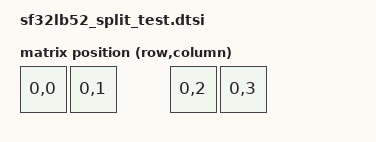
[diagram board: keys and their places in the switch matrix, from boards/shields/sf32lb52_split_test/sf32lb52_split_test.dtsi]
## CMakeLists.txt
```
cmake_minimum_required(VERSION 3.13.1)

set(CONFIG_APPLICATION_DEFINED_SYSCALL true)

set(ZEPHYR_BOARD_ALIASES "boards/aliases.cmake")
set(ZEPHYR_EXTRA_MODULES "${ZMK_EXTRA_MODULES};${CMAKE_CURRENT_SOURCE_DIR}/module;${CMAKE_CURRENT_SOURCE_DIR}/keymap-module")

# Find Zephyr. This also loads Zephyr's build system.
find_package(Zephyr REQUIRED HINTS ../zephyr)
project(zmk)

zephyr_linker_sources(SECTIONS include/linker/zmk-behaviors.ld)
zephyr_linker_sources(RODATA include/linker/zmk-events.ld)

if(CONFIG_ZMK_BEHAVIOR_LOCAL_IDS)
  zephyr_linker_sources(DATA_SECTIONS include/linker/zmk-behavior-local-id-map.ld)
endif()

zephyr_syscall_header(${APPLICATION_SOURCE_DIR}/include/drivers/behavior.h)
zephyr_syscall_header(${APPLICATION_SOURCE_DIR}/include/drivers/input_processor.h)
zephyr_syscall_header(${APPLICATION_SOURCE_DIR}/include/drivers/ext_power.h)

# Add your source file to the "app" target. This must come after
# find_package(Zephyr) which defines the target.
target_include_directories(app PRIVATE include)
add_subdirectory(src/boot)
target_sources(app PRIVATE src/stdlib.c)
target_sources(app PRIVATE src/activity.c)
target_sources(app PRIVATE src/behavior.c)
target_sources_ifdef(CONFIG_ZMK_KSCAN_SIDEBAND_BEHAVIORS app PRIVATE src/kscan_sideband_behaviors.c)
target_sources(app PRIVATE src/matrix_transform.c)
target_sources(app PRIVATE src/physical_layouts.c)
target_sources(app PRIVATE src/sensors.c)
target_sources_ifdef(CONFIG_ZMK_WPM app PRIVATE src/wpm.c)
target_sources(app PRIVATE src/event_manager.c)
target_sources_ifdef(CONFIG_ZMK_PM app PRIVATE src/pm.c)
target_sources_ifdef(CONFIG_ZMK_EXT_POWER app PRIVATE src/ext_power_generic.c)
target_sources_ifdef(CONFIG_ZMK_GPIO_KEY_WAKEUP_TRIGGER app PRIVATE src/gpio_key_wakeup_trigger.c)
target_sources(app PRIVATE src/events/activity_state_changed.c)
target_sources(app PRIVATE src/events/position_state_changed.c)
target_sources(app PRIVATE src/events/sensor_event.c)
target_sources_ifdef(CONFIG_ZMK_WPM app PRIVATE src/events/wpm_state_changed.c)
target_sources_ifdef(CONFIG_USB_DEVICE_STACK app PRIVATE src/events/usb_conn_state_changed.c)
target_sources(app PRIVATE src/behaviors/behavior_reset.c)
target_sources_ifdef(CONFIG_ZMK_EXT_POWER app PRIVATE src/behaviors/behavior_ext_power.c)
target_sources_ifdef(CONFIG_ZMK_BEHAVIOR_SOFT_OFF app PRIVATE src/behaviors/behavior_soft_off.c)
add_subdirectory_ifdef(CONFIG_ZMK_POINTING src/pointing/)
if ((NOT CONFIG_ZMK_SPLIT) OR CONFIG_ZMK_SPLIT_ROLE_CENTRAL)
  target_sources(app PRIVATE src/hid.c)
  target_sources(app PRIVATE src/behaviors/behavior_key_press.c)
  target_sources_ifdef(CONFIG_ZMK_BEHAVIOR_KEY_TOGGLE app PRIVATE src/behaviors/behavior_key_toggle.c)
  target_sources_ifdef(CONFIG_ZMK_BEHAVIOR_HOLD_TAP app PRIVATE src/behaviors/behavior_hold_tap.c)
  target_sources_ifdef(CONFIG_ZMK_BEHAVIOR_STICKY_KEY app PRIVATE src/behaviors/behavior_sticky_key.c)
  target_sources(app PRIVATE src/behaviors/behavior_caps_word.c)
  target_sources(app PRIVATE src/behaviors/behavior_key_repeat.c)
  target_sources_ifdef(CONFIG_ZMK_BEHAVIOR_MACRO app PRIVATE src/behaviors/behavior_macro.c)
  target_sources(app PRIVATE src/behaviors/behavior_momentary_layer.c)
  target_sources(app PRIVATE src/behaviors/behavior_mod_morph.c)
  target_sources(app PRIVATE src/behaviors/behavior_outputs.c)
  target_sources(app PRIVATE src/behaviors/behavior_toggle_layer.c)
  target_sources(app PRIVATE src/behaviors/behavior_to_layer.c)
  target_sources(app PRIVATE src/behaviors/behavior_transparent.c)
  target_sources(app PRIVATE src/behaviors/behavior_none.c)
  target_sources_ifdef(CONFIG_ZMK_BEHAVIOR_SENSOR_ROTATE app PRIVATE src/behaviors/behavior_sensor_rotate.c)
  target_sources_ifdef(CONFIG_ZMK_BEHAVIOR_SENSOR_ROTATE_VAR app PRIVATE src/behaviors/behavior_sensor_rotate_var.c)
  target_sources_ifdef(CONFIG_ZMK_BEHAVIOR_SENSOR_ROTATE_COMMON app PRIVATE src/behaviors/behavior_sensor_rotate_common.c)
  target_sources_ifdef(CONFIG_ZMK_BEHAVIOR_MOUSE_KEY_PRESS app PRIVATE src/behaviors/behavior_mouse_key_press.c)
  target_sources_ifdef(CONFIG_ZMK_BEHAVIOR_STUDIO_UNLOCK app PRIVATE src/behaviors/behavior_studio_unlock.c)
  target_sources_ifdef(CONFIG_ZMK_BEHAVIOR_INPUT_TWO_AXIS app PRIVATE src/behaviors/behavior_input_two_axis.c)
  target_sources(app PRIVATE src/combo.c)
  target_sources_ifdef(CONFIG_ZMK_BEHAVIOR_TAP_DANCE app PRIVATE src/behaviors/behavior_tap_dance.c)
  target_sources(app PRIVATE src/behavior_queue.c)
  target_sources(app PRIVATE src/conditional_layer.c)
  target_sources(app PRIVATE src/endpoints.c)
  target_sources(app PRIVATE src/events/endpoint_changed.c)
  target_sources(app PRIVATE src/hid_listener.c)
  target_sources(app PRIVATE src/keymap.c)
  target_sources(app PRIVATE src/events/layer_state_changed.c)
  target_sources(app PRIVATE src/events/modifiers_state_changed.c)
  target_sources(app PRIVATE src/events/keycode_state_changed.c)
  target_sources_ifdef(CONFIG_ZMK_HID_INDICATORS app PRIVATE src/hid_indicators.c)

  if (CONFIG_ZMK_BLE)
    target_sources(app PRIVATE src/events/ble_active_profile_changed.c)
    target_sources(app PRIVATE src/behaviors/behavior_bt.c)
    target_sources(app PRIVATE src/ble.c)
    target_sources(app PRIVATE src/hog.c)
  endif()
endif()

if(CONFIG_ZMK_USB_CHERRYUSB)
  zephyr_include_directories(src/cherryusb)
  target_sources(app PRIVATE src/cherryusb/usb.c)
  target_sources(app PRIVATE src/cherryusb/usb_hid.c)
  target_sources(app PRIVATE src/events/usb_conn_state_changed.c)
endif()

target_sources_ifdef(CONFIG_ZMK_RGB_UNDERGLOW app PRIVATE src/behaviors/behavior_rgb_underglow.c)
target_sources_ifdef(CONFIG_ZMK_BACKLIGHT app PRIVATE src/behaviors/behavior_backlight.c)

target_sources_ifdef(CONFIG_ZMK_BATTERY_REPORTING app PRIVATE src/events/battery_state_changed.c)
target_sources_ifdef(CONFIG_ZMK_BATTERY_REPORTING app PRIVATE src/battery.c)

target_sources_ifdef(CONFIG_ZMK_HID_INDICATORS app PRIVATE src/events/hid_indicators_changed.c)

target_sources_ifdef(CONFIG_ZMK_SPLIT app PRIVATE src/events/split_peripheral_status_changed.c)
add_subdirectory_ifdef(CONFIG_ZMK_SPLIT src/split)

target_sources_ifdef(CONFIG_USB_DEVICE_STACK app PRIVATE src/usb.c)
target_sources_ifdef(CONFIG_ZMK_USB app PRIVATE src/usb_hid.c)
target_sources_ifdef(CONFIG_ZMK_RGB_UNDERGLOW app PRIVATE src/rgb_underglow.c)
target_sources_ifdef(CONFIG_ZMK_BACKLIGHT app PRIVATE src/backlight.c)
target_sources_ifdef(CONFIG_ZMK_LOW_PRIORITY_WORK_QUEUE app PRIVATE src/workqueue.c)
target_sources(app PRIVATE src/main.c)

add_subdirectory(src/display/)
add_subdirectory_ifdef(CONFIG_SETTINGS src/settings/)

if (CONFIG_ZMK_STUDIO_RPC)
  # For some reason this is failing if run from a different sub-file.
  list(APPEND CMAKE_MODULE_PATH ${ZEPHYR_BASE}/modules/nanopb)

  include(nanopb)

    # Turn off the default nanopb behavior
  set(NANOPB_GENERATE_CPP_STANDALONE OFF)

  nanopb_generate_cpp(proto_srcs proto_hdrs RELPATH ${ZEPHYR_ZMK_STUDIO_MESSAGES_MODULE_DIR}
                        ${ZEPHYR_ZMK_STUDIO_MESSAGES_MODULE_DIR}/proto/zmk/studio.proto
                        ${ZEPHYR_ZMK_STUDIO_MESSAGES_MODULE_DIR}/proto/zmk/meta.proto
                        ${ZEPHYR_ZMK_STUDIO_MESSAGES_MODULE_DIR}/proto/zmk/core.proto
                        ${ZEPHYR_ZMK_STUDIO_MESSAGES_MODULE_DIR}/proto/zmk/behaviors.proto
                        ${ZEPHYR_ZMK_STUDIO_MESSAGES_MODULE_DIR}/proto/zmk/keymap.proto
  )

  target_include_directories(app PUBLIC ${CMAKE_CURRENT_BINARY_DIR})
  target_sources(app PRIVATE ${proto_srcs} ${proto_hdrs})

  add_subdirectory(src/studio)
endif()

zephyr_cc_option(-Wfatal-errors)
```

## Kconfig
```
# Copyright (c) 2020 The ZMK Contributors
# SPDX-License-Identifier: MIT

mainmenu "ZMK Firmware"

menu "ZMK"

menu "Basic Keyboard Setup"

config ZMK_KEYBOARD_NAME
    string "Keyboard Name"

config USB_DEVICE_PRODUCT
    default ZMK_KEYBOARD_NAME

config BT_DEVICE_NAME
    default ZMK_KEYBOARD_NAME

config USB_DEVICE_VID
    default 0x1D50

config USB_DEVICE_PID
    default 0x615E

config USB_DEVICE_MANUFACTURER
    default "ZMK Project"

config BT_DIS_PNP_VID
    default 0x1D50

config BT_DIS_PNP_PID
    default 0x615E

config BT_DIS_MODEL_NUMBER_STR
    default ZMK_KEYBOARD_NAME

config BT_DIS_MANUF_NAME_STR
    default "ZMK Project"

# Hardware specific overrides

if SOC_SERIES_NRF52X

# Default on for our usage until boards implement retained bootmode.
config NRF_STORE_REBOOT_TYPE_GPREGRET
    bool
    default y

endif # SOC_SERIES_NRF52X

menu "HID"

choice ZMK_HID_REPORT_TYPE
    prompt "HID Report Type"

config ZMK_HID_REPORT_TYPE_HKRO
    bool "#-Key Roll Over (HKRO) HID Report"
    help
      Enable # key roll over for HID report. This selection is "boot keyboard" compatible
      but limits the total number of possible keys to report as held to #.

config ZMK_HID_REPORT_TYPE_NKRO
    bool "Full N-Key Roll Over (NKRO) HID Report"
    help
      Enable full N-Key Roll Over for HID output. This selection will prevent the keyboard
      from working with some BIOS/UEFI versions that only support "boot keyboard" support.
      This option also prevents using some infrequently used higher range HID usages (notably F13-F24 and INTL1-9)
      These usages can be re enabled with ZMK_HID_KEYBOARD_NKRO_EXTENDED_REPORT.

endchoice

config ZMK_HID_KEYBOARD_NKRO_EXTENDED_REPORT
    bool "Enable extended NKRO reporting"
    depends on ZMK_HID_REPORT_TYPE_NKRO
    help
      Enables higher usage range for NKRO (F13-F24 and INTL1-9).
      Please note this is not compatible with Android currently and you will get no input


if ZMK_HID_REPORT_TYPE_HKRO

config ZMK_HID_KEYBOARD_REPORT_SIZE
    int "# Keyboard Keys Reportable"

endif # ZMK_HID_REPORT_TYPE_HKRO

config ZMK_HID_CONSUMER_REPORT_SIZE
    int "# Consumer Keys Reportable"

choice ZMK_HID_CONSUMER_REPORT_USAGES
    prompt "HID Report Type"

config ZMK_HID_CONSUMER_REPORT_USAGES_FULL
    bool "Full Consumer HID Usage Support"
    help
      Enable full Consumer usage ID values to be sent to hosts. Allows for less
      frequently used usages, but has compatibability issues with some host OSes.

config ZMK_HID_CONSUMER_REPORT_USAGES_BASIC
    bool "Basic Consumer HID Usage Support"
    help
      Enable Consumer usage ID values up to "Playback Speed - Slow" to be sent to
      hosts. Allows for broader compatibability with more host OSes.

endchoice

config ZMK_HID_INDICATORS
    bool "HID Indicators"
    help
      Enable HID indicators, used for detecting state of Caps/Scroll/Num Lock,
      Kata, and Compose.

config ZMK_HID_SEPARATE_MOD_RELEASE_REPORT
    bool "Release Modifiers Separately"
    help
      Send a separate release event for the modifiers, to make sure the release
      of the modifier doesn't get recognized before the actual key's release event.

menu "Output Types"

# Hidden config: set when any USB HID output is available
config ZMK_USB_HID
    bool
    default y if ZMK_USB || ZMK_USB_CHERRYUSB

choice ZMK_USB_STACK
    prompt "USB Stack"
    optional
    depends on (!ZMK_SPLIT || (ZMK_SPLIT && ZMK_SPLIT_ROLE_CENTRAL))

config ZMK_USB
    bool "Zephyr USB Stack"
    select USB
    select USB_DEVICE_STACK
    select USB_DEVICE_HID

config ZMK_USB_CHERRYUSB
    bool "CherryUSB Stack"
    select CHERRYUSB
    select CHERRYUSB_DEVICE
    select CHERRYUSB_DEVICE_HID

endchoice

config ZMK_USB_BOOT
    bool "USB Boot Protocol Support"
    depends on ZMK_USB_HID
    select USB_HID_BOOT_PROTOCOL if ZMK_USB

config USB_DEVICE_INITIALIZE_AT_BOOT
    default n

if ZMK_USB

config USB_NUMOF_EP_WRITE_RETRIES
    default 10

config USB_HID_POLL_INTERVAL_MS
    default 1

endif # ZMK_USB

if ZMK_USB_CHERRYUSB

config CHERRYUSB_DEV_BASE_ADDR
    hex "CherryUSB device controller base address"
    default 0x0

endif # ZMK_USB_CHERRYUSB

menuconfig ZMK_BLE
    bool "BLE (HID over GATT)"
    select BT
    select BT_SMP
    select BT_SMP_SC_PAIR_ONLY
    select BT_SMP_APP_PAIRING_ACCEPT
    select BT_PERIPHERAL
    select BT_DIS
    imply BT_DEVICE_NAME_DYNAMIC
    imply BT_SETTINGS if !ARCH_POSIX
    imply SETTINGS if !ARCH_POSIX
    imply ZMK_BATTERY_REPORTING if !ARCH_POSIX

if ZMK_BLE

config ZMK_BLE_EXPERIMENTAL_CONN
    bool "Experimental BLE connection changes"
    help
      Enables settings that are planned to be default in future versions of ZMK
      to improve connection stability.

config ZMK_BLE_EXPERIMENTAL_SEC
    bool "Experimental BLE security changes"
    imply BT_SMP_ALLOW_UNAUTH_OVERWRITE
    help
      Enables security settings that are planned to be officially supported in the future.

config ZMK_BLE_EXPERIMENTAL_FEATURES
    bool "Experimental BLE connection and security settings/features"
    select ZMK_BLE_EXPERIMENTAL_CONN
    select ZMK_BLE_EXPERIMENTAL_SEC
    help
      Enables experimental connection changes and security features.

config ZMK_BLE_PASSKEY_ENTRY
    bool "Require passkey entry on the keyboard to complete pairing"
    select RING_BUFFER

config BT_SMP_ALLOW_UNAUTH_OVERWRITE
    imply ZMK_BLE_PASSKEY_ENTRY

config BT_CTLR_PHY_2M
    default n if ZMK_BLE_EXPERIMENTAL_CONN

config ZMK_BLE_THREAD_STACK_SIZE
    int "BLE notify thread stack size"
    default 768

config ZMK_BLE_THREAD_PRIORITY
    int "BLE notify thread priority"
    default 5

config ZMK_BLE_KEYBOARD_REPORT_QUEUE_SIZE
    int "Max number of keyboard HID reports to queue for sending over BLE"
    default 20

config ZMK_BLE_CONSUMER_REPORT_QUEUE_SIZE
    int "Max number of consumer HID reports to queue for sending over BLE"
    default 5

config ZMK_BLE_MOUSE_REPORT_QUEUE_SIZE
    int "Max number of mouse HID reports to queue for sending over BLE"
    default 20

config ZMK_BLE_CLEAR_BONDS_ON_START
    bool "Configuration that clears all bond information from the keyboard on startup."

# HID GATT notifications sent this way are *not* picked up by Linux, and possibly others.
config BT_GATT_NOTIFY_MULTIPLE
    default n

config BT_GATT_AUTO_SEC_REQ
    default (ZMK_SPLIT_BLE && !ZMK_SPLIT_ROLE_CENTRAL)

config BT_PERIPHERAL_PREF_MIN_INT
    default 6

config BT_PERIPHERAL_PREF_MAX_INT
    default 12

config BT_PERIPHERAL_PREF_LATENCY
    default 0

config BT_PERIPHERAL_PREF_TIMEOUT
    default 400

# The device name should be 16 characters or less so it fits within the
# advertising data.
config BT_DEVICE_NAME_MAX
    default 16

endif # ZMK_BLE

endmenu # Output Types

endmenu # HID

rsource "src/split/Kconfig"

endmenu # Basic Keyboard Setup

menu "Keymaps"

config ZMK_KEYMAP_LAYER_REORDERING
    bool "Layer Reordering Support"

config ZMK_KEYMAP_SETTINGS_STORAGE
    bool "Settings Save/Load"
    depends on SETTINGS
    depends on ZMK_BEHAVIOR_LOCAL_IDS

if ZMK_KEYMAP_SETTINGS_STORAGE

config ZMK_KEYMAP_LAYER_NAME_MAX_LEN
    int "Max Layer Name Length"
    default 20

endif # ZMK_KEYMAP_SETTINGS_STORAGE

endmenu # Keymaps

rsource "src/studio/Kconfig"

menu "Display/LED Options"

rsource "src/display/Kconfig"

menuconfig ZMK_RGB_UNDERGLOW
    bool "RGB Addressable LED Underglow"
    select LED_STRIP
    select ZMK_LOW_PRIORITY_WORK_QUEUE

if ZMK_RGB_UNDERGLOW

config ZMK_RGB_UNDERGLOW_EXT_POWER
    bool "RGB underglow toggling also controls external power"

config ZMK_RGB_UNDERGLOW_BRT_MIN
    int "RGB underglow minimum brightness in percent"
    range 0 100

config ZMK_RGB_UNDERGLOW_BRT_MAX
    int "RGB underglow maximum brightness in percent"
    range ZMK_RGB_UNDERGLOW_BRT_MIN 100

config ZMK_RGB_UNDERGLOW_HUE_STEP
    int "RGB underglow hue step in degrees"
    range 0 359

config ZMK_RGB_UNDERGLOW_SAT_STEP
    int "RGB underglow saturation step in percent"
    range 0 100

config ZMK_RGB_UNDERGLOW_BRT_STEP
    int "RGB underglow brightness step in percent"
    range 0 100

config ZMK_RGB_UNDERGLOW_HUE_START
    int "RGB underglow start hue value in degrees"
    range 0 359

config ZMK_RGB_UNDERGLOW_SAT_START
    int "RGB underglow start saturations value in percent"
    range 0 100

config ZMK_RGB_UNDERGLOW_BRT_START
    int "RGB underglow start brightness value in percent"
    range ZMK_RGB_UNDERGLOW_BRT_MIN ZMK_RGB_UNDERGLOW_BRT_MAX

config ZMK_RGB_UNDERGLOW_SPD_START
    int "RGB underglow start animation speed value"
    range 1 5

config ZMK_RGB_UNDERGLOW_EFF_START
    int "RGB underglow start effect int value related to the effect enum list"
    range 0 3

config ZMK_RGB_UNDERGLOW_ON_START
    bool "RGB underglow starts on by default"

config ZMK_RGB_UNDERGLOW_AUTO_OFF_IDLE
    bool "Turn off RGB underglow when keyboard goes into idle state"

config ZMK_RGB_UNDERGLOW_AUTO_OFF_USB
    bool "Turn off RGB underglow when USB is disconnected"
    depends on USB_DEVICE_STACK

endif # ZMK_RGB_UNDERGLOW

menuconfig ZMK_BACKLIGHT
    bool "LED backlight"
    select LED

if ZMK_BACKLIGHT

config ZMK_BACKLIGHT_BRT_STEP
    int "Brightness step in percent"
    range 1 100

config ZMK_BACKLIGHT_BRT_START
    int "Default brightness in percent"
    range 1 100

config ZMK_BACKLIGHT_ON_START
    bool "Default backlight state"

config ZMK_BACKLIGHT_AUTO_OFF_IDLE
    bool "Turn off backlight when keyboard goes into idle state"

config ZMK_BACKLIGHT_AUTO_OFF_USB
    bool "Turn off backlight when USB is disconnected"

endif # ZMK_BACKLIGHT

endmenu # Display/LED Options

rsource "src/pointing/Kconfig"

menu "Power Management"

config ZMK_BATTERY_REPORTING
    bool "Battery level detection/reporting"
    select SENSOR
    select ZMK_LOW_PRIORITY_WORK_QUEUE
    imply BT_BAS if ZMK_BLE

if ZMK_BATTERY_REPORTING

choice ZMK_BATTERY_REPORTING_FETCH_MODE
    prompt "Battery Reporting Fetch Mode"

config ZMK_BATTERY_REPORTING_FETCH_MODE_STATE_OF_CHARGE
    bool "State of charge"

config ZMK_BATTERY_REPORTING_FETCH_MODE_LITHIUM_VOLTAGE
    bool "Lithium Voltage"

endchoice

endif # ZMK_BATTERY_REPORTING

config ZMK_IDLE_TIMEOUT
    int "Milliseconds of inactivity before entering idle state (OLED shutoff, etc)"
    default 30000

config ZMK_SLEEP
    bool "Enable deep sleep support"
    depends on HAS_POWEROFF
    select POWEROFF
    select ZMK_PM_DEVICE_SUSPEND_RESUME
    imply USB

if ZMK_SLEEP

config PM_DEVICE
    default y

config ZMK_IDLE_SLEEP_TIMEOUT
    int "Milliseconds of inactivity before entering deep sleep"
    default 900000

endif # ZMK_SLEEP

config ZMK_EXT_POWER
    bool "Enable support to control external power output"

config ZMK_PM
    bool

config ZMK_PM_DEVICE_SUSPEND_RESUME
    bool
    select ZMK_PM

config ZMK_PM_SOFT_OFF
    bool "Soft-off support"
    depends on HAS_POWEROFF
    select ZMK_PM
    select PM_DEVICE
    select ZMK_PM_DEVICE_SUSPEND_RESUME
    select POWEROFF

config ZMK_GPIO_KEY_WAKEUP_TRIGGER
    bool "Hardware supported wakeup (GPIO)"
    default y
    depends on DT_HAS_ZMK_GPIO_KEY_WAKEUP_TRIGGER_ENABLED && ZMK_PM_SOFT_OFF

# Power Management
endmenu

menu "Combo options"

config ZMK_COMBO_MAX_PRESSED_COMBOS
    int "Maximum number of currently pressed combos"
    default 4

config ZMK_COMBO_MAX_COMBOS_PER_KEY
    int "Deprecated: Max combos per key"
    default 0
    help
      Deprecated: Storage for combos is now determined automatically

config ZMK_COMBO_MAX_KEYS_PER_COMBO
    int "Deprecated: Max keys per combo"
    default 0
    help
       Deprecated: This is now auto-calculated based on `key-positions` in devicetree

# Combo options
endmenu

menu "Behavior Options"

config ZMK_BEHAVIORS_QUEUE_SIZE
    int "Maximum number of behaviors to allow queueing from a macro or other complex behavior"
    default 64

rsource "Kconfig.behaviors"

config ZMK_MACRO_DEFAULT_WAIT_MS
    int "Default time to wait (in milliseconds) before triggering the next behavior in macros"
    default 15

config ZMK_MACRO_DEFAULT_TAP_MS
    int "Default time to wait (in milliseconds) between the press and release events of a tapped behavior in macros"
    default 30

endmenu

menu "Advanced"

rsource "src/boot/Kconfig"

menu "Initialization Priorities"

if ZMK_USB_HID

config ZMK_USB_INIT_PRIORITY
    int "USB Init Priority"
    default 96

config ZMK_USB_HID_INIT_PRIORITY
    int "USB HID Init Priority"
    default 95

endif # ZMK_USB_HID

if ZMK_BLE || ZMK_SPLIT_BLE

config ZMK_BLE_INIT_PRIORITY
    int "BLE Init Priority"
    default 50

endif # ZMK_BLE || ZMK_SPLIT_BLE

endmenu # Initialization Priorities

config ZMK_PHYSICAL_LAYOUT_KEY_ROTATION
    bool "Support rotation of keys in physical layouts"
    default y

menuconfig ZMK_KSCAN
    bool "ZMK KScan Integration"
    default y
    select KSCAN

if ZMK_KSCAN

config ZMK_KSCAN_EVENT_QUEUE_SIZE
    int "Size of the event queue for KSCAN events to buffer events"
    default 4

endif # ZMK_KSCAN

config ZMK_KSCAN_SIDEBAND_BEHAVIORS
    bool
    default y
    depends on DT_HAS_ZMK_KSCAN_SIDEBAND_BEHAVIORS_ENABLED
    select KSCAN

if ZMK_KSCAN_SIDEBAND_BEHAVIORS

config ZMK_KSCAN_SIDEBAND_BEHAVIORS_INIT_PRIORITY
    int "Keyboard scan sideband behaviors driver init priority"
    # The default kscan init priority is 90, so be sure we are initialized later.
    default 95

endif # ZMK_KSCAN_SIDEBAND_BEHAVIORS

menu "Logging"

config ZMK_LOGGING_MINIMAL
    bool "Suppress all ZMK debug log messages"
    default false

if !ZMK_LOGGING_MINIMAL

config ZMK_LOG_LEVEL
    default 4

endif

config ZMK_USB_LOGGING
    bool "Enable USB CDC ACM logging to help debug"
    select LOG
    select USB
    select USB_DEVICE_STACK
    select USB_CDC_ACM
    select SERIAL
    select CONSOLE
    select UART_INTERRUPT_DRIVEN
    select UART_LINE_CTRL
    select UART_CONSOLE
    select USB_UART_CONSOLE

if ZMK_USB_LOGGING

choice USB_CDC_ACM_LOG_LEVEL_CHOICE
    default USB_CDC_ACM_LOG_LEVEL_OFF
endchoice

choice USB_DRIVER_LOG_LEVEL_CHOICE
    default USB_DRIVER_LOG_LEVEL_OFF
endchoice

# We do this to avoid log loop where logging to USB generates more log messages.

config USB_CDC_ACM_RINGBUF_SIZE
    default 1024

config LOG_PROCESS_THREAD_STARTUP_DELAY_MS
    default 1000

endif # ZMK_USB_LOGGING

config ZMK_RTT_LOGGING
    bool "Enable RTT logging to help debug"
    select LOG
    select DEBUG
    select ASSERT
    select USE_SEGGER_RTT
    select CONSOLE
    select RTT_CONSOLE

if ZMK_RTT_LOGGING

config SEGGER_RTT_BUFFER_SIZE_UP
    default 8192

endif # ZMK_RTT_LOGGING

if ZMK_USB_LOGGING || ZMK_RTT_LOGGING

config LOG_BUFFER_SIZE
    default 8192

config LOG_PROCESS_THREAD_SLEEP_MS
    default 100

endif # ZMK_USB_LOGGING || ZMK_RTT_LOGGING

endmenu # Logging

if SETTINGS

config ZMK_SETTINGS_RESET_ON_START
    bool "Delete all persistent settings when the keyboard boots"

if ZMK_SETTINGS_RESET_ON_START

config ZMK_SETTINGS_RESET_ON_START_INIT_PRIORITY
    int "Settings Reset ON Start Initialization Priority"
    default 60
    help
      Initialization priority for the settings reset on start. Must be lower priority/
      higher value than FLASH_INIT_PRIORITY if using the NVS/Flash settings backend.

endif # ZMK_SETTINGS_RESET_ON_START

config ZMK_SETTINGS_SAVE_DEBOUNCE
    int "Milliseconds to debounce settings saves"
    default 60000

endif # SETTINGS

config ZMK_BATTERY_REPORT_INTERVAL
    depends on ZMK_BATTERY_REPORTING
    int "Battery level report interval in seconds"

config ZMK_LOW_PRIORITY_WORK_QUEUE
    bool "Work queue for low priority items"

if ZMK_LOW_PRIORITY_WORK_QUEUE

config ZMK_LOW_PRIORITY_THREAD_STACK_SIZE
    int "Low priority thread stack size"
    default 768

config ZMK_LOW_PRIORITY_THREAD_PRIORITY
    int "Low priority thread priority"
    default 10

endif # ZMK_LOW_PRIORITY_WORK_QUEUE

endmenu # Advanced

endmenu # ZMK

if SOC_FAMILY_NORDIC_NRF

config NRF_SOC_VALIDATE_HEADERS_DISABLED
    bool 
    default y

endif

config KERNEL_BIN_NAME
    default "zmk"

config REBOOT
    default y

config USB_DEVICE_STACK
    default y if HAS_HW_NRF_USBD

config FPU
    default CPU_HAS_FPU

config ZMK_WPM
    bool "Calculate WPM"

config ZMK_KEYMAP_SENSORS
    bool "Enable Keymap Sensors support"
    default y
    depends on DT_HAS_ZMK_KEYMAP_SENSORS_ENABLED
    select SENSOR

if ZMK_KEYMAP_SENSORS

config ZMK_KEYMAP_SENSORS_DEFAULT_TRIGGERS_PER_ROTATION
    int "Default triggers per rotation"
    help
      Unless overridden for a sensor in the board/shield/devicetree, this value
      determines how many times to trigger the bound behavior per full rotation.
      For tactile encoders with detents, this usually should match the number of
      detents per rotation of the encoder.
    default 20

endif # ZMK_KEYMAP_SENSORS

module = ZMK
module-str = zmk
source "subsys/logging/Kconfig.template.log_config"

# This loads ZMK's internal board and shield Kconfigs
rsource "boards/Kconfig"
rsource "boards/shields/*/Kconfig.defconfig"
rsource "boards/shields/*/Kconfig.shield"

# This loads custom shields defconfigs (from BOARD_ROOT)
# Duplicated from Kconfig.zephyr
osource "$(KCONFIG_BINARY_DIR)/Kconfig.shield.defconfig"

# This loads board and shield Kconfigs found under zmk-config/config/
osource "$(ZMK_CONFIG)/boards/shields/*/Kconfig.defconfig"
osource "$(ZMK_CONFIG)/boards/shields/*/Kconfig.shield"

# This loads ZMK's sensible defaults
rsource "Kconfig.defaults"

source "Kconfig.zephyr"
```

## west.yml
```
manifest:
  remotes:
    - name: zephyrproject-rtos
      url-base: https://github.com/zephyrproject-rtos
    - name: zmkfirmware
      url-base: https://github.com/zmkfirmware
    - name: abcdaaa1111
      url-base: https://github.com/abcdaaa1111
    - name: cherry-embedded
      url-base: https://github.com/cherry-embedded
  projects:
    - name: zephyr
      remote: abcdaaa1111
      revision: v4.3+sf32-zmk_fixes
      import:
        name-blocklist:
          - ci-tools
          - hal_altera
          - hal_cypress
          - hal_infineon
          - hal_microchip
          - hal_nxp
          - hal_openisa
          - hal_xtensa
          - hal_st
          - hal_ti
          - loramac-node
          - mcuboot
          - mcumgr
          - net-tools
          - openthread
          - edtt
          - trusted-firmware-m
    - name: hal_stm32
      revision: 4fcc3a3f32abe1c4cb76d9d1cef967728dd03908
      path: modules/hal/stm32
      remote: zmkfirmware
      groups:
        - hal
    - name: lvgl
      revision: f1db87ee98f1810328a8419572fa42a3b5f352ae
      path: modules/lib/gui/lvgl
      remote: zmkfirmware
    - name: zmk-studio-messages
      revision: 6cb4c283e76209d59c45fbcb218800cd19e9339d
      path: modules/msgs/zmk-studio-messages
      remote: zmkfirmware
    - name: hal_sifli
      revision: 86fa0e9433fda1a760e0077c19b8407ecceea2f9
      path: modules/hal/sifli
      remote: zephyrproject-rtos
      groups:
        - hal
    - name: CherryUSB
      revision: zephyr-adapt
      remote: abcdaaa1111
      path: modules/lib/usb/CherryUSB
      groups:
        - usb
  group-filter: [+optional]
  self:
    west-commands: scripts/west-commands.yml
```

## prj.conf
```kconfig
CONFIG_APPLICATION_DEFINED_SYSCALL=y
```

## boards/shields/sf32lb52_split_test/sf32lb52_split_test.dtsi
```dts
#include <zephyr/dt-bindings/gpio/gpio.h>
#include <dt-bindings/zmk/matrix_transform.h>
#include <physical_layouts.dtsi>

/ {
	chosen {
		zmk,kscan = &kscan_direct;
	};

	default_transform: keypad_transform_0 {
		compatible = "zmk,matrix-transform";
		columns = <4>;
		rows = <1>;
		map = < RC(0,0) RC(0,1) RC(0,2) RC(0,3) >;
	};

	default_layout: default_layout {
		compatible = "zmk,physical-layout";
		display-name = "Default";
		transform = <&default_transform>;
		keys
			= <&key_physical_attrs 100 100   0   0   0 0 0>
			, <&key_physical_attrs 100 100 100   0   0 0 0>
			, <&key_physical_attrs 100 100 300   0   0 0 0>
			, <&key_physical_attrs 100 100 400   0   0 0 0>
			;
	};

	kscan_direct: kscan_direct {
		compatible = "zmk,kscan-gpio-direct";
	};
};
```

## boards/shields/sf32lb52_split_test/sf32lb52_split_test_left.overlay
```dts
#include "sf32lb52_split_test.dtsi"

&pinctrl {
	usb_default: usb_default {
		group1 {
			pinmux = <PA35_ANALOG>, <PA36_ANALOG>;
			input-enable;
		};
	};
};

&kscan_direct {
	input-gpios =
		<&gpioa_32_44 2 (GPIO_ACTIVE_HIGH | GPIO_PULL_DOWN)>,
		<&gpioa_00_31 11 (GPIO_ACTIVE_HIGH | GPIO_PULL_DOWN)>;
};

/ {
	zephyr,user {
		pinctrl-0 = <&usb_default>;
		pinctrl-names = "default";
	};
};
```

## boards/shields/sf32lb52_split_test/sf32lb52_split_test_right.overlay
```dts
#include "sf32lb52_split_test.dtsi"

&default_transform {
	col-offset = <2>;
};

&kscan_direct {
	input-gpios =
		<&gpioa_32_44 1 (GPIO_ACTIVE_HIGH | GPIO_PULL_DOWN)>,
		<&gpioa_32_44 2 (GPIO_ACTIVE_HIGH | GPIO_PULL_DOWN)>;
};
```

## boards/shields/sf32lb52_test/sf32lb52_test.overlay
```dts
/*
 * Copyright (c) 2025
 * SPDX-License-Identifier: MIT
 *
 * Test shield for SF32LB52-DevKit-LCD
 * Uses the onboard KEY1 (PA34) and KEY2 (PA11) as direct GPIO keys.
 */

#include <zephyr/dt-bindings/gpio/gpio.h>
#include <dt-bindings/zmk/matrix_transform.h>

&pinctrl {
	usb_default: usb_default {
		group1 {
			pinmux = <PA35_ANALOG>, <PA36_ANALOG>;
            input-enable;
		};
	};
};

/ {
    chosen {
        zmk,matrix-transform = &default_transform;
        zmk,kscan = &kscan_direct;
    };

    default_transform: keypad_transform_0 {
        compatible = "zmk,matrix-transform";
        columns = <2>;
        rows = <1>;
        map = <
            RC(0,0) RC(0,1)
        >;
    };

    kscan_direct: kscan_direct {
        compatible = "zmk,kscan-gpio-direct";
        input-gpios =
            <&gpioa_32_44 2 (GPIO_ACTIVE_HIGH | GPIO_PULL_DOWN)>,
            <&gpioa_00_31 11 (GPIO_ACTIVE_HIGH | GPIO_PULL_DOWN)>;
    };

    zephyr,user {
		pinctrl-0 = <&usb_default>;
		pinctrl-names = "default";
	};
};
```

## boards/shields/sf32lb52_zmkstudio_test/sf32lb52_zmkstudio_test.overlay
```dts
#include <zephyr/dt-bindings/gpio/gpio.h>
#include <dt-bindings/zmk/matrix_transform.h>
#include <physical_layouts.dtsi>

&pinctrl {
	usb_default: usb_default {
		group1 {
			pinmux = <PA35_ANALOG>, <PA36_ANALOG>;
			input-enable;
		};
	};
};

/ {
	chosen {
		zmk,kscan = &kscan_direct;
	};

	default_transform: keypad_transform_0 {
		compatible = "zmk,matrix-transform";
		columns = <2>;
		rows = <1>;
		map = < RC(0,0) RC(0,1) >;
	};

	default_layout: default_layout {
		compatible = "zmk,physical-layout";
		display-name = "Default";
		transform = <&default_transform>;
		keys
			= <&key_physical_attrs 100 100   0   0   0 0 0>
			, <&key_physical_attrs 100 100 100   0   0 0 0>
			;
	};

	kscan_direct: kscan_direct {
		compatible = "zmk,kscan-gpio-direct";
		input-gpios =
			<&gpioa_32_44 2 (GPIO_ACTIVE_HIGH | GPIO_PULL_DOWN)>,
			<&gpioa_00_31 11 (GPIO_ACTIVE_HIGH | GPIO_PULL_DOWN)>;
	};

	zephyr,user {
		pinctrl-0 = <&usb_default>;
		pinctrl-names = "default";
	};
};
```

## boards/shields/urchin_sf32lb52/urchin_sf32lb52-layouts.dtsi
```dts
#include <physical_layouts.dtsi>

/ {
    default_layout: physical_layout_0 {
        compatible = "zmk,physical-layout";
        display-name = "Default Layout";

        keys  //                     w   h    x    y     rot    rx    ry
            = <&key_physical_attrs 100 100    0   95       0     0     0>
            , <&key_physical_attrs 100 100  100   32       0     0     0>
            , <&key_physical_attrs 100 100  200    0       0     0     0>
            , <&key_physical_attrs 100 100  300   28       0     0     0>
            , <&key_physical_attrs 100 100  400   42       0     0     0>
            , <&key_physical_attrs 100 100  700   42       0     0     0>
            , <&key_physical_attrs 100 100  800   28       0     0     0>
            , <&key_physical_attrs 100 100  900    0       0     0     0>
            , <&key_physical_attrs 100 100 1000   32       0     0     0>
            , <&key_physical_attrs 100 100 1100   95       0     0     0>
            , <&key_physical_attrs 100 100    0  195       0     0     0>
            , <&key_physical_attrs 100 100  100  132       0     0     0>
            , <&key_physical_attrs 100 100  200  100       0     0     0>
            , <&key_physical_attrs 100 100  300  129       0     0     0>
            , <&key_physical_attrs 100 100  400  142       0     0     0>
            , <&key_physical_attrs 100 100  700  142       0     0     0>
            , <&key_physical_attrs 100 100  800  129       0     0     0>
            , <&key_physical_attrs 100 100  900  100       0     0     0>
            , <&key_physical_attrs 100 100 1000  132       0     0     0>
            , <&key_physical_attrs 100 100 1100  195       0     0     0>
            , <&key_physical_attrs 100 100    0  295       0     0     0>
            , <&key_physical_attrs 100 100  100  231       0     0     0>
            , <&key_physical_attrs 100 100  200  200       0     0     0>
            , <&key_physical_attrs 100 100  300  229       0     0     0>
            , <&key_physical_attrs 100 100  400  242       0     0     0>
            , <&key_physical_attrs 100 100  700  242       0     0     0>
            , <&key_physical_attrs 100 100  800  229       0     0     0>
            , <&key_physical_attrs 100 100  900  200       0     0     0>
            , <&key_physical_attrs 100 100 1000  231       0     0     0>
            , <&key_physical_attrs 100 100 1100  295       0     0     0>
            , <&key_physical_attrs 100 100  330  355    1500   430   455>
            , <&key_physical_attrs 100 100  430  355    3000   430   455>
            , <&key_physical_attrs 100 100  670  355 (-3000)   770   455>
            , <&key_physical_attrs 100 100  770  355 (-1500)   770   455>
            , <&key_physical_attrs 100 100    0  455       0     0     0>
            , <&key_physical_attrs 100 100  100  455       0     0     0>
            , <&key_physical_attrs 100 100 1000  455       0     0     0>
            , <&key_physical_attrs 100 100 1100  455       0     0     0>
            ;
    };
};
```

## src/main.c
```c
/*
 * Copyright (c) 2020 The ZMK Contributors
 *
 * SPDX-License-Identifier: MIT
 */

#include <zephyr/kernel.h>
#include <zephyr/device.h>
#include <zephyr/devicetree.h>
#include <zephyr/settings/settings.h>

#include <zephyr/logging/log.h>
LOG_MODULE_REGISTER(zmk, CONFIG_ZMK_LOG_LEVEL);

#if IS_ENABLED(CONFIG_ZMK_DISPLAY)

#include <zmk/display.h>
#include <lvgl.h>

#endif
#include <stdio.h>
int main(void) {
    LOG_INF("Welcome to ZMK!\n");
    printf("Welcome to ZMK!\n");
#if IS_ENABLED(CONFIG_SETTINGS)
    settings_subsys_init();
    settings_load();
#endif

#ifdef CONFIG_ZMK_DISPLAY
    zmk_display_init();

#if IS_ENABLED(CONFIG_ARCH_POSIX)
    // Workaround for an SDL display issue:
    // https://github.com/zephyrproject-rtos/zephyr/issues/71410
    while (1) {
        lv_task_handler();
        k_sleep(K_MSEC(10));
    }
#endif

#endif /* CONFIG_ZMK_DISPLAY */
    printf("Hi!\n");
    return 0;
}
```

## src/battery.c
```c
/*
 * Copyright (c) 2020 The ZMK Contributors
 *
 * SPDX-License-Identifier: MIT
 */

#include <zephyr/device.h>
#include <zephyr/devicetree.h>
#include <zephyr/init.h>
#include <zephyr/kernel.h>
#include <zephyr/drivers/sensor.h>
#include <zephyr/bluetooth/services/bas.h>

#include <zephyr/logging/log.h>

LOG_MODULE_DECLARE(zmk, CONFIG_ZMK_LOG_LEVEL);

#include <zmk/event_manager.h>
#include <zmk/battery.h>
#include <zmk/events/battery_state_changed.h>
#include <zmk/events/activity_state_changed.h>
#include <zmk/activity.h>
#include <zmk/workqueue.h>

static uint8_t last_state_of_charge = 0;

uint8_t zmk_battery_state_of_charge(void) { return last_state_of_charge; }

#if DT_HAS_CHOSEN(zmk_battery)
static const struct device *const battery = DEVICE_DT_GET(DT_CHOSEN(zmk_battery));
#else
static const struct device *battery;
#endif

#if IS_ENABLED(CONFIG_ZMK_BATTERY_REPORTING_FETCH_MODE_LITHIUM_VOLTAGE)
static uint8_t lithium_ion_mv_to_pct(int16_t bat_mv) {
    // Simple linear approximation of a battery based off adafruit's discharge graph:
    // https://learn.adafruit.com/li-ion-and-lipoly-batteries/voltages

    if (bat_mv >= 4200) {
        return 100;
    } else if (bat_mv <= 3450) {
        return 0;
    }

    return bat_mv * 2 / 15 - 459;
}

#endif // IS_ENABLED(CONFIG_ZMK_BATTERY_REPORTING_FETCH_MODE_LITHIUM_VOLTAGE)

static int zmk_battery_update(const struct device *battery) {
    struct sensor_value state_of_charge;
    int rc;

#if IS_ENABLED(CONFIG_ZMK_BATTERY_REPORTING_FETCH_MODE_STATE_OF_CHARGE)

    rc = sensor_sample_fetch_chan(battery, SENSOR_CHAN_GAUGE_STATE_OF_CHARGE);
    if (rc != 0) {
        LOG_DBG("Failed to fetch battery values: %d", rc);
        return rc;
    }

    rc = sensor_channel_get(battery, SENSOR_CHAN_GAUGE_STATE_OF_CHARGE, &state_of_charge);

    if (rc != 0) {
        LOG_DBG("Failed to get battery state of charge: %d", rc);
        return rc;
    }
#elif IS_ENABLED(CONFIG_ZMK_BATTERY_REPORTING_FETCH_MODE_LITHIUM_VOLTAGE)
    rc = sensor_sample_fetch_chan(battery, SENSOR_CHAN_VOLTAGE);
    if (rc != 0) {
        LOG_DBG("Failed to fetch battery values: %d", rc);
        return rc;
    }

    struct sensor_value voltage;
    rc = sensor_channel_get(battery, SENSOR_CHAN_VOLTAGE, &voltage);

    if (rc != 0) {
        LOG_DBG("Failed to get battery voltage: %d", rc);
        return rc;
    }

    uint16_t mv = voltage.val1 * 1000 + (voltage.val2 / 1000);
    state_of_charge.val1 = lithium_ion_mv_to_pct(mv);

    LOG_DBG("State of change %d from %d mv", state_of_charge.val1, mv);
#else
#error "Not a supported reporting fetch mode"
#endif

    if (last_state_of_charge != state_of_charge.val1) {
        last_state_of_charge = state_of_charge.val1;

        rc = raise_zmk_battery_state_changed(
            (struct zmk_battery_state_changed){.state_of_charge = last_state_of_charge});

        if (rc != 0) {
            LOG_ERR("Failed to raise battery state changed event: %d", rc);
            return rc;
        }
    }

#if IS_ENABLED(CONFIG_BT_BAS)
    if (bt_bas_get_battery_level() != last_state_of_charge) {
        LOG_DBG("Setting BAS GATT battery level to %d.", last_state_of_charge);

        rc = bt_bas_set_battery_level(last_state_of_charge);

        if (rc != 0) {
            LOG_WRN("Failed to set BAS GATT battery level (err %d)", rc);
            return rc;
        }
    }
#endif

    return rc;
}

static void zmk_battery_work(struct k_work *work) {
    int rc = zmk_battery_update(battery);

    if (rc != 0) {
        LOG_DBG("Failed to update battery value: %d.", rc);
    }
}

K_WORK_DEFINE(battery_work, zmk_battery_work);

static void zmk_battery_timer(struct k_timer *timer) {
    k_work_submit_to_queue(zmk_workqueue_lowprio_work_q(), &battery_work);
}

K_TIMER_DEFINE(battery_timer, zmk_battery_timer, NULL);

static void zmk_battery_start_reporting() {
    if (device_is_ready(battery)) {
        k_timer_start(&battery_timer, K_NO_WAIT, K_SECONDS(CONFIG_ZMK_BATTERY_REPORT_INTERVAL));
    }
}

static int zmk_battery_init(void) {
#if !DT_HAS_CHOSEN(zmk_battery)
    battery = device_get_binding("BATTERY");

    if (battery == NULL) {
        return -ENODEV;
    }

    LOG_WRN("Finding battery device labeled BATTERY is deprecated. Use zmk,battery chosen node.");
#endif

    if (!device_is_ready(battery)) {
        LOG_ERR("Battery device \"%s\" is not ready", battery->name);
        return -ENODEV;
    }

    zmk_battery_start_reporting();
    return 0;
}

static int battery_event_listener(const zmk_event_t *eh) {

    if (as_zmk_activity_state_changed(eh)) {
        switch (zmk_activity_get_state()) {
        case ZMK_ACTIVITY_ACTIVE:
            zmk_battery_start_reporting();
            return 0;
        case ZMK_ACTIVITY_IDLE:
        case ZMK_ACTIVITY_SLEEP:
            k_timer_stop(&battery_timer);
            return 0;
        default:
            break;
        }
    }
    return -ENOTSUP;
}

ZMK_LISTENER(battery, battery_event_listener);

ZMK_SUBSCRIPTION(battery, zmk_activity_state_changed);

SYS_INIT(zmk_battery_init, APPLICATION, CONFIG_APPLICATION_INIT_PRIORITY);
```
